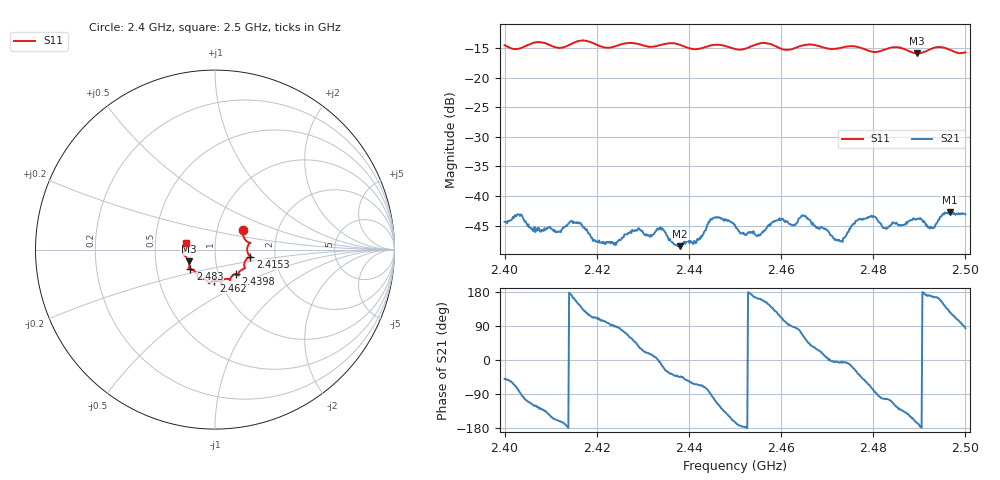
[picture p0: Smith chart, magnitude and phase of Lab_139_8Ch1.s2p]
# Hz S RI R 50
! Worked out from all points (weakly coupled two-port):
!   601 points, 2.4 GHz to 2.5 GHz, reference 50 ohm
!   highest |S21| = -42.78 dB at 2.4967 GHz (marker M1); lowest = -48.5 dB at 2.438 GHz (marker M2)
!   lowest |S11| = -15.9 dB at 2.4895 GHz (marker M3), VSWR 1.38, Z = 36.9 - j5.01 ohm
!   |S11| at or under -10 dB: start of sweep to end of sweep
!   S12 and S22 are empty: the file has one direction only
!   S11 on the Smith chart (normalised r, x): 2.4 GHz: 1.33, +0.29; 2.4153 GHz: 1.48, -0.12; 2.4398 GHz: 1.21, -0.34; 2.462 GHz: 0.93, -0.33; 2.483 GHz: 0.74, -0.17; 2.5 GHz: 0.72, +0.06
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2.4e9  0.1551 0.1067  0.00391 -0.00462  0 0  0 0
2.403333e9  0.1685 0.0553  0.000482 -0.00677  0 0  0 0
2.4115e9  0.179 0.00656  -0.00469 -0.00177  0 0  0 0
2.415333e9  0.1965 -0.0388  -0.00552 0.00223  0 0  0 0
2.416667e9  0.2021 -0.0429  -0.00431 0.00375  0 0  0 0
2.421333e9  0.1722 -0.0571  -0.000947 0.00388  0 0  0 0
2.433333e9  0.1309 -0.1334  0.00519 -3.34e-05  0 0  0 0
2.438e9  0.1287 -0.1402  0.00267 -0.00266  0 0  0 0
2.439833e9  0.1154 -0.1364  0.00241 -0.00336  0 0  0 0
2.445167e9  0.0847 -0.1691  -0.000919 -0.0064  0 0  0 0
2.45e9  0.0647 -0.1629  -0.00547 -0.00158  0 0  0 0
2.455e9  0.036 -0.1903  -0.00445 0.00143  0 0  0 0
2.462e9  -0.00487 -0.1732  -0.000121 0.00579  0 0  0 0
2.466667e9  -0.0344 -0.1877  0.00464 0.00341  0 0  0 0
2.472833e9  -0.0787 -0.1604  0.00411 -0.000433  0 0  0 0
2.476667e9  -0.0958 -0.1549  0.00501 -0.0037  0 0  0 0
2.483e9  -0.1375 -0.1095  -0.00118 -0.0052  0 0  0 0
2.483333e9  -0.1402 -0.1093  -0.00133 -0.0053  0 0  0 0
2.4895e9  -0.1465 -0.066  -0.00624 -0.0015  0 0  0 0
2.492833e9  -0.1751 -0.0283  -0.00525 0.00113  0 0  0 0
2.496667e9  -0.1721 -0.00987  -0.00417 0.00594  0 0  0 0
2.5e9  -0.1595 0.0392  0.000743 0.00697  0 0  0 0
